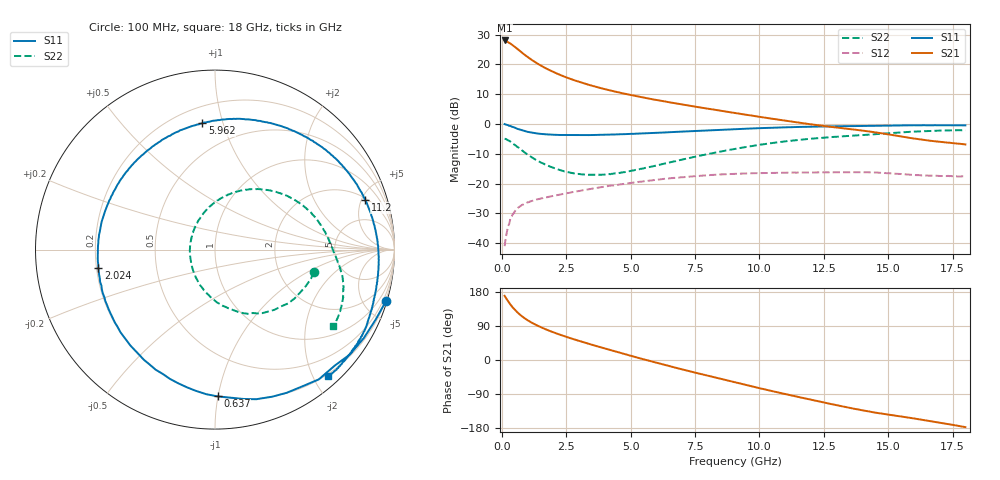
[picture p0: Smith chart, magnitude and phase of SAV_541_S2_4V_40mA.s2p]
! Data provided by Modelithics, Inc.  Tampa, Florida USA, June 2008
!Model SAV-541+
!VAR V_out= 4
!VAR I_out= 40
!VAR V_in= 0.3903
!VAR I_in= 0.9034
!BEGIN ACDATA
# GHZ S MA R 50
! Scattering Parameters
!% F n11x n11y n21x n21y n12x n12y n22x n22y
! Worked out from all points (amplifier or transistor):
!   401 points, 100 MHz to 18 GHz, reference 50 ohm
!   highest |S21| = 28.0 dB at 100 MHz (marker M1)
!   |S21| within 3 dB of that: start of sweep to 614.7 MHz
!   unconditionally stable (mu >= 1): 3.893 GHz to 10.02 GHz; 10.05 GHz to 10.1 GHz; 10.16465 GHz to 10.17348 GHz
!   at 3.054 GHz: K = 0.92, MSG = 18.2 dB, |S12| = -22.4 dB
!   at 9.05 GHz: K = 1.03, MAG = 9.1 dB, |S12| = -16.7 dB
!   at 18 GHz: K = 0.88, MSG = 5.4 dB, |S12| = -17.6 dB
!   lowest NFmin = 0.07 dB at 500 MHz
!   S11 on the Smith chart (normalised r, x): 100 MHz: 0.13, -6.73; 637 MHz: 0.20, -1.00; 2.024 GHz: 0.21, -0.08; 5.962 GHz: 0.31, +0.86; 11.2 GHz: 2.17, +5.37; 18 GHz: 0.17, -2.23
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0.1  0.9944 -16.9  25.18 169.3  0.00888 82.5  0.5644 -12.9
0.1895  0.9647 -30.7  23.98 159.6  0.01544 74.2  0.5464 -21.5
0.279  0.9292 -44.0  22.89 150.6  0.02106 70.2  0.5208 -31.4
0.3685  0.9038 -57.5  21.66 142.5  0.02738 61.2  0.4859 -40.6
0.50275  0.8647 -74.6  19.56 132.1  0.03439 55.2  0.442 -53.2
0.637  0.8177 -89.0  17.53 123.2  0.03972 48.0  0.4019 -62.9
0.77125  0.7829 -101.5  15.72 115.6  0.04375 43.7  0.3603 -71.6
0.9055  0.7518 -112.5  14.17 108.9  0.0459 40.3  0.325 -79.4
1.174  0.7126 -131.5  11.71 97.7  0.05115 34.9  0.2717 -93.5
1.532  0.6796 -150.6  9.414 85.8  0.0564 30.6  0.2225 -109.2
2.02425  0.6581 -171.0  7.35 72.3  0.06263 26.3  0.1816 -128.4
2.5165  0.6513 172.6  6.001 60.7  0.06854 23.0  0.1562 -146.1
3.09825  0.6483 156.4  4.917 48.2  0.07636 19.0  0.1425 -166.4
4.396  0.6659 126.1  3.486 22.4  0.09362 8.9  0.1479 151.8
5.96225  0.7067 95.7  2.54 -6.5  0.1152 -6.1  0.1994 112.9
6.0965  0.7126 93.3  2.481 -8.8  0.1169 -7.5  0.2059 110.4
7.439  0.7581 71.2  1.97 -32.2  0.1325 -22.2  0.2779 86.0
9.05  0.8146 47.4  1.523 -58.9  0.1454 -40.4  0.3816 61.3
11.198  0.8813 18.3  1.101 -92.8  0.1521 -65.5  0.5209 32.4
12.04825  0.8985 7.9  0.9796 -105.4  0.1531 -75.2  0.5669 22.3
15.0465  0.9371 -23.2  0.6635 -144.6  0.1485 -105.9  0.7004 -7.9
18  0.9452 -48.1  0.4531 -177.1  0.1316 -130.6  0.7862 -33.0
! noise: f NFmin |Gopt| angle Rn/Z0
0.5  0.073  0.3359  29.91  0.053
0.7  0.104  0.3394  40.15  0.048
0.9  0.135  0.3432  50.25  0.044
1  0.151  0.3452  55.24  0.042
1.9  0.291  0.3659  98.56  0.032
2.4  0.368  0.3796  121.4  0.032
3  0.462  0.3981  147.5  0.037
3.9  0.602  0.4302  -175.7  0.056
5  0.772  0.4762  -134.7  0.095
6  0.928  0.5246  -101.2  0.148
